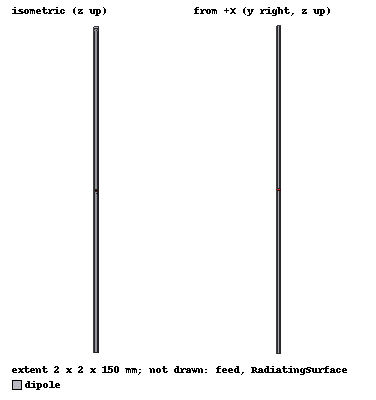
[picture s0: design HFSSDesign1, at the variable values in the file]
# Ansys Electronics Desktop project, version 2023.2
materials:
  vacuum: permittivity=1
  pec: conductivity=1e+30

design HFSSDesign1 (HFSS, HFSS Modal Network, model units mm)
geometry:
  dipole [pec] = cylinder(axis=Z, base_centre=(0mm, 0mm, (-150/2) mm), radius=1mm, height=150mm)
  feed [vacuum] = cylinder(axis=Z, base_centre=(0mm, 0mm, (-1/2) mm), radius=1mm, height=1mm)
  feed_1 = feed.copy()
  dipole.subtract(feed_1)
  feed_Section1 = feed.section(plane=YZ)
  RadiatingSurface [vacuum] = region(absolute_offset=100mm on all sides)
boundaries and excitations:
  PerfE1: Perfect E Objects=dipole
  Open1: Radiation Objects=RadiatingSurface
  1: Lumped Port Objects=feed_Section1 LumpedPortType=Default Modes{Mode1{IntLine{(0, 0, -0.5) -> (0, 0, 0.5)} CharImp=Zpi RenormImp=50ohm}} Impedance=50ohm
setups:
  Setup1: HfssDriven Frequency=1GHz MaxDeltaS=0.02 MaximumPasses=6 MinimumPasses=1 MinimumConvergedPasses=1 PercentRefinement=30 BasisOrder=1 PortAccuracy=2 DrivenSolverType="Direct Solver"
    sweep Sweep: 700MHz to 1.3GHz step 1MHz; Type=Fast SaveFields
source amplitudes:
  1:1: 1W 0deg
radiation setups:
  3D: Infinite Sphere Theta=0deg..180deg step 2deg Phi=-180deg..180deg step 2deg
  Elevation: Infinite Sphere Theta=-180deg..180deg step 1deg Phi=0deg..90deg step 90deg
  Azimuth: Infinite Sphere Theta=90deg..90deg step 0deg Phi=-180deg..180deg step 1deg
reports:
  S Parameter Plot 1: dB(S(1,1)) vs Freq on Setup1 : Sweep; markers m1 at 0.92GHz
  VSWR Plot 1: VSWR(1) vs Freq on Setup1 : Sweep; markers m1 at 0.922GHz
  Gain Plot 1: GainTotal vs Phi, Theta on Setup1 : LastAdaptive, 3D [Freq=1GHz]
